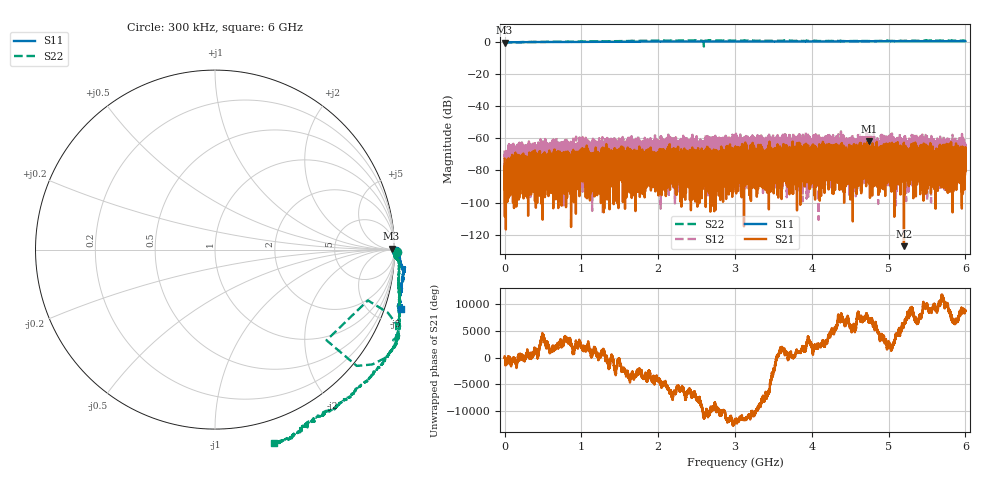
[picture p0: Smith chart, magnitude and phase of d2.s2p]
!Agilent Technologies,N5230C,SG49000117,A.08.50.07
!Agilent N5230C: A.08.50.07
!Date: Thursday, May 16, 2024 18:06:24
!Correction: S11(Full 2 Port(1,2))
!S21(Full 2 Port(1,2))
!S12(Full 2 Port(1,2))
!S22(Full 2 Port(1,2))
!S2P File: Measurements: S11, S21, S12, S22:
# Hz S  MA  R 50
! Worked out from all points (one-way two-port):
!   20001 points, 300 kHz to 6 GHz, reference 50 ohm
!   highest |S21| = -61.84 dB at 4.742 GHz (marker M1); lowest = -127.2 dB at 5.2 GHz (marker M2)
!   lowest |S11| = -0.1 dB at 600 kHz (marker M3), VSWR 119.57, Z = 5.51e+03 + j1.6e+03 ohm
!   |S11| at or under -10 dB: nowhere
!   |S22| runs from -2.6 to 1.2 dB; largest |S21 - S12| = 0.0019
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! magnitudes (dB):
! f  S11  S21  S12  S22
! 300 kHz  0.1  -72.7  -67.5  0.1
! 600 kHz  -0.1  -81.4  -77.5  -0.3
! 30.9 MHz  0.0  -80.8  -74.8  0.0
! 208.2 MHz  0.1  -81.6  -81.7  0.1
! 1 GHz  0.2  -78.5  -71.9  0.4
! 1.329 GHz  0.3  -67.9  -71.0  0.6
! 2 GHz  0.5  -79.8  -67.7  1.0
! 2.155 GHz  0.5  -80.6  -61.3  1.1
! 2.556 GHz  0.5  -67.3  -77.0  1.1
! 3 GHz  0.5  -67.9  -73.7  1.1
! 3.43 GHz  0.5  -71.3  -74.0  1.0
! 3.493 GHz  0.5  -75.9  -72.4  0.9
! 3.644 GHz  0.5  -71.0  -65.2  0.9
! 3.708 GHz  0.5  -73.2  -61.8  0.9
! 3.841 GHz  0.5  -66.0  -68.4  0.9
! 4 GHz  0.5  -68.2  -77.7  0.9
! 4.742 GHz  0.7  -61.8  -62.3  0.7
! 4.854 GHz  0.7  -68.4  -72.7  0.8
! 5 GHz  0.7  -65.1  -72.4  0.9
! 5.2 GHz  0.7  -127.2  -67.5  0.9
! 5.909 GHz  0.7  -73.2  -67.0  1.1
! 6 GHz  0.7  -76.8  -65.4  1.0
